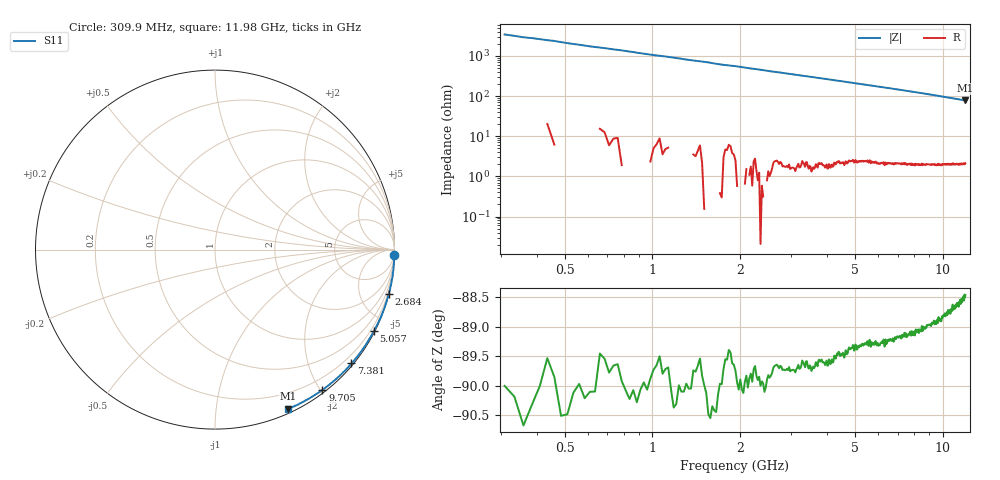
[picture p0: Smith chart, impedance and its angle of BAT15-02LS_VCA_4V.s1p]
! Infineon Technologies  Discrete & RF Semiconductors
! BAT15-02ELS
! VCA = 4 V
! One-Port S-Parameters
# Hz  S  MA  R  50
!f  S11
!Hz  Mag  Ang
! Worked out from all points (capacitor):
!   468 points, 309.9 MHz to 11.98 GHz, reference 50 ohm
!   read as one part to ground: C = 149 fF near 359.8 MHz
!   lowest |Z| = 78 ohm at 11.98 GHz (marker M1)
!   S11 on the Smith chart (normalised r, x): 309.9 MHz: -0, -69; 2.684 GHz: 0.05, -7.92; 5.057 GHz: 0.04, -4.14; 7.381 GHz: 0.04, -2.76; 9.705 GHz: 0.04, -2.02; 11.98 GHz: 0.04, -1.56
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3.0985e8  1 -1.7
4.347875e8  0.9997 -2.3
1.2094e9  1.001 -6.5
1.334338e9  1 -7.2
1.50925e9  1 -8.0
1.6092e9  1.001 -8.6
1.784112e9  0.9987 -9.6
1.90905e9  0.9989 -10.1
2.009e9  0.9997 -10.7
2.683662e9  0.9984 -14.4
3.233388e9  0.9985 -17.3
3.983012e9  0.9973 -21.3
4.70765e9  0.9959 -25.3
5.057475e9  0.9951 -27.1
5.682162e9  0.9935 -30.5
6.156925e9  0.9931 -33.1
6.831588e9  0.9916 -36.7
7.381312e9  0.99 -39.8
7.6062e9  0.9902 -41.0
8.180912e9  0.9889 -44.2
8.380812e9  0.9885 -45.3
8.580712e9  0.9874 -46.4
9.080462e9  0.9864 -49.1
9.70515e9  0.9844 -52.6
1.052974e10  0.9816 -57.1
1.14043e10  0.9783 -62.0
1.192904e10  0.9766 -65.0
1.197901e10  0.9759 -65.3
